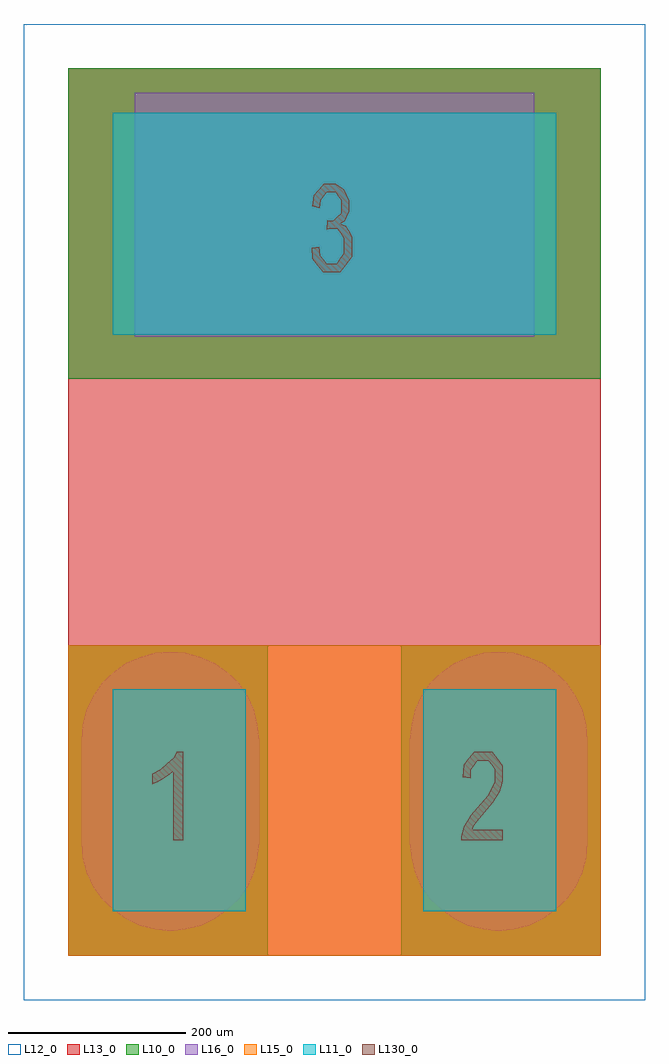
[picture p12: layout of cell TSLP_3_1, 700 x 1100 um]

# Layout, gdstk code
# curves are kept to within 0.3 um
import gdstk
lib = gdstk.Library(unit=1e-6, precision=1e-09)
def R(c, l, rs):  # rectangles x0, y0, x1, y1
    for r in rs: c.add(gdstk.rectangle(r[:2], r[2:], *l))
def P(c, l, *ps):  # polygons
    for p in ps: c.add(gdstk.Polygon(p, *l))
L10_0 = (10, 0)
L11_0 = (11, 0)
L12_0 = (12, 0)
L13_0 = (13, 0)
L15_0 = (15, 0)
L16_0 = (16, 0)
L130_0 = (130, 0)

tslp_3_1 = lib.new_cell('TSLP_3_1')
R(tslp_3_1, L10_0, [(-300,-500,-75,-150), (75,-500,300,-150), (-300,150,300,500)])
R(tslp_3_1, L11_0, [(-250,-450,-100,-200), (100,-450,250,-200), (-250,200,250,450)])
R(tslp_3_1, L12_0, [(-350,-550,350,550)])
R(tslp_3_1, L13_0, [(-300,-500,300,500)])
R(tslp_3_1, L15_0, [(-300,-500,300,-150)])
R(tslp_3_1, L16_0, [(-225,197.5,225,472.5)])
P(tslp_3_1, L16_0, [(-235,-458.5),(-219,-466.5),(-202,-470.5),(-185,-472.5),(-168,-470.5),(-151,-466.5),(-135,-458.5),(-121,-448.5),(-108,-436.5),(-98,-422.5),(-91,-406.5),(-87,-389.5),(-85,-372.5),(-85,-257.5),(-87,-239.5),(-91,-222.5),(-98,-207.5),(-108,-192.5),(-121,-180.5),(-135,-170.5),(-151,-163.5),(-168,-158.5),(-185,-157.5),(-202,-158.5),(-219,-163.5),(-235,-170.5),(-249,-180.5),(-262,-192.5),(-272,-207.5),(-279,-222.5),(-284,-239.5),(-285,-257.5),(-285,-372.5),(-284,-389.5),(-279,-406.5),(-272,-422.5),(-262,-436.5),(-249,-448.5)],
  [(135,-458.5),(151,-466.5),(168,-470.5),(185,-472.5),(202,-470.5),(219,-466.5),(235,-458.5),(249,-448.5),(262,-436.5),(272,-422.5),(279,-406.5),(284,-389.5),(285,-372.5),(285,-257.5),(284,-239.5),(279,-222.5),(272,-207.5),(262,-192.5),(249,-180.5),(235,-170.5),(219,-163.5),(202,-158.5),(185,-157.5),(168,-158.5),(151,-163.5),(135,-170.5),(121,-180.5),(108,-192.5),(98,-207.5),(91,-222.5),(87,-239.5),(85,-257.5),(85,-372.5),(87,-389.5),(91,-406.5),(98,-422.5),(108,-436.5),(121,-448.5)])
P(tslp_3_1, L130_0, [(155.064,-358.247),(156.513,-354.918),(160.955,-348.329),(178.144,-327.948),(186.207,-315.177),(189.684,-303.628),(189.684,-285.897),(177.806,-270),(157.527,-270),(145.553,-284.742),(144.635,-298.804),(153.568,-300.095),(153.616,-290.72),(161.148,-280.122),(173.364,-280.122),(180.751,-290.109),(180.751,-304.307),(172.639,-319.864),(153.664,-341.739),(145.794,-354.783),(142.897,-365.584),(142.994,-370),(189.78,-370),(189.78,-358.247)],
  [(-25.051,285.354),(-12.915,270),(6.455,270),(19.78,287.824),(19.78,310.12),(12.927,322.737),(6.74,324.74),(11.499,327.811),(16.353,338.224),(16.353,351.242),(11.261,363.124),(1.648,370),(-12.344,370),(-23.48,356.716),(-25.051,344.633),(-16.484,342.497),(-15.532,351.308),(-8.87,360.12),(1.172,360.12),(7.549,351.442),(7.549,336.489),(-1.208,328.478),(-8.061,328.611),(-9.012,318.064),(-5.395,319.399),(2.98,319.399),(10.69,308.651),(10.69,291.696),(2.362,279.947),(-8.774,279.947),(-15.866,288.959),(-17.341,299.172),(-25.907,297.57)],
  [(-170.22,-270),(-177.788,-270),(-180.855,-276.454),(-195.599,-290.177),(-205.451,-295),(-205.451,-306.821),(-199.97,-304.715),(-186.204,-296.291),(-181.964,-292.079),(-181.964,-370),(-170.22,-370)])

lib.write_gds('TSLP_3_1.gds')
